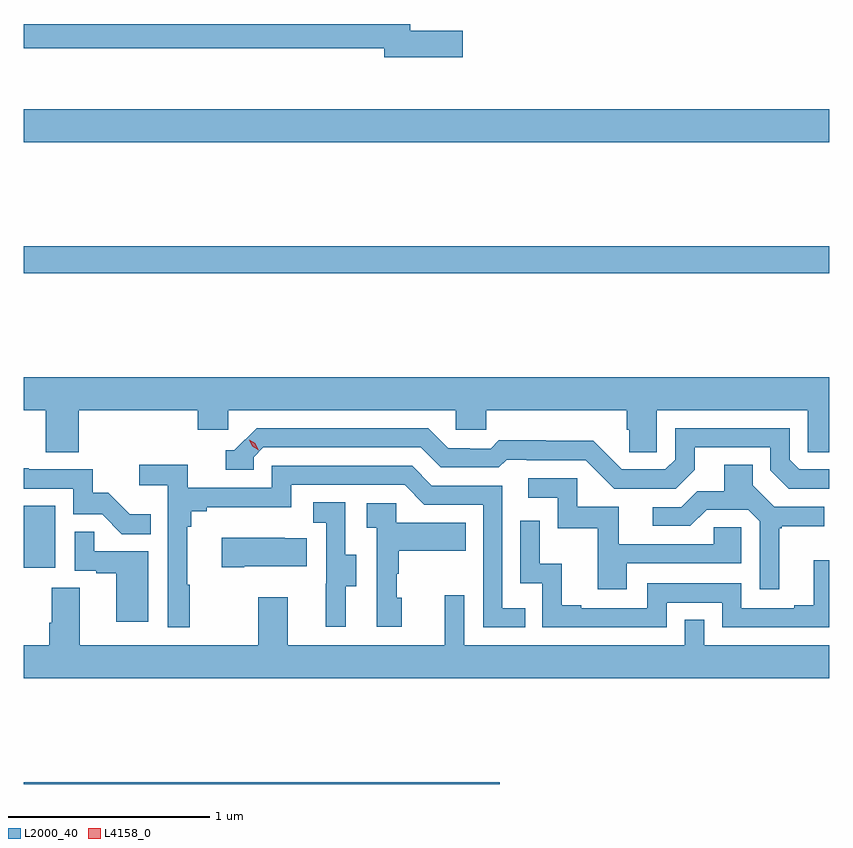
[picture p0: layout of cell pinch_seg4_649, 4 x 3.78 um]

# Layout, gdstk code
import gdstk
lib = gdstk.Library(unit=1e-6, precision=1e-09)
def R(c, l, rs):  # rectangles x0, y0, x1, y1
    for r in rs: c.add(gdstk.rectangle(r[:2], r[2:], *l))
def P(c, l, *ps):  # polygons
    for p in ps: c.add(gdstk.Polygon(p, *l))
L2000_40 = (2000, 40)
L4158_0 = (4158, 0)

pinch_seg4_649 = lib.new_cell('pinch_seg4_649')
R(pinch_seg4_649, L2000_40, [(1032.461,755.003,1034.824,755.012), (1032.461,756.078,1032.616,756.385), (1032.461,757.54,1036.461,757.676), (1032.461,758.192,1036.461,758.356)])
P(pinch_seg4_649, L2000_40, [(1034.641,758.745),(1034.38,758.745),(1034.38,758.779),(1032.461,758.779),(1032.461,758.658),(1034.252,758.658),(1034.252,758.615),(1034.641,758.615)],
  [(1032.734,756.86),(1033.325,756.86),(1033.325,756.762),(1033.476,756.762),(1033.476,756.86),(1034.607,756.86),(1034.607,756.762),(1034.757,756.762),(1034.757,756.86),(1035.455,756.86),(1035.455,756.762),(1035.469,756.762),(1035.469,756.652),(1035.606,756.652),(1035.606,756.86),(1036.356,756.86),(1036.356,756.652),(1036.461,756.652),(1036.461,757.024),(1032.461,757.024),(1032.461,756.86),(1032.569,756.86),(1032.569,756.652),(1032.734,756.652)],
  [(1035.793,756.565),(1035.793,756.675),(1036.17,756.675),(1036.17,756.561),(1036.26,756.471),(1036.461,756.471),(1036.461,756.567),(1036.314,756.567),(1036.266,756.615),(1036.266,756.771),(1035.696,756.771),(1035.696,756.615),(1035.648,756.567),(1035.432,756.567),(1035.29,756.709),(1035.054,756.709),(1035.054,756.712),(1034.821,756.712),(1034.779,756.669),(1034.676,756.669),(1034.676,756.672),(1034.569,756.672),(1034.47,756.771),(1033.617,756.771),(1033.506,756.66),(1033.463,756.66),(1033.463,756.564),(1033.602,756.564),(1033.602,756.627),(1033.65,756.675),(1034.433,756.675),(1034.532,756.576),(1034.821,756.576),(1034.86,756.615),(1034.959,756.615),(1034.959,756.612),(1035.252,756.612),(1035.393,756.471),(1035.699,756.471)],
  [(1033.285,755.993),(1033.273,755.993),(1033.273,756.281),(1033.292,756.281),(1033.292,756.358),(1033.369,756.358),(1033.369,756.377),(1033.788,756.377),(1033.788,756.489),(1034.352,756.489),(1034.451,756.39),(1034.742,756.39),(1034.742,755.781),(1034.951,755.781),(1034.951,755.877),(1034.838,755.877),(1034.838,756.486),(1034.488,756.486),(1034.389,756.585),(1033.692,756.585),(1033.692,756.474),(1033.274,756.474),(1033.274,756.59),(1033.035,756.59),(1033.035,756.488),(1033.176,756.488),(1033.176,755.781),(1033.285,755.781)],
  [(1036.213,756.273),(1036.225,756.273),(1036.225,756.284),(1036.438,756.284),(1036.438,756.381),(1036.188,756.381),(1036.081,756.488),(1036.081,756.59),(1035.941,756.59),(1035.941,756.458),(1035.806,756.458),(1035.726,756.378),(1035.585,756.378),(1035.585,756.285),(1035.772,756.285),(1035.853,756.366),(1036.059,756.366),(1036.116,756.309),(1036.116,755.97),(1036.213,755.97)],
  [(1033.091,756.343),(1032.987,756.343),(1032.88,756.45),(1032.804,756.45),(1032.804,756.567),(1032.485,756.567),(1032.485,756.572),(1032.461,756.572),(1032.461,756.471),(1032.705,756.471),(1032.705,756.342),(1032.849,756.342),(1032.947,756.244),(1033.091,756.244)],
  [(1035.457,756.099),(1036.026,756.099),(1036.026,756.279),(1035.889,756.279),(1035.889,756.195),(1035.415,756.195),(1035.415,756.381),(1035.21,756.381),(1035.21,756.522),(1034.967,756.522),(1034.967,756.426),(1035.114,756.426),(1035.114,756.273),(1035.313,756.273),(1035.313,755.97),(1035.457,755.97)],
  [(1034.059,755.986),(1034.113,755.986),(1034.113,756.141),(1034.058,756.141),(1034.058,756.404),(1033.899,756.404),(1033.899,756.301),(1033.962,756.301),(1033.962,755.997),(1033.961,755.997),(1033.961,755.784),(1034.059,755.784)],
  [(1034.338,755.928),(1034.313,755.928),(1034.313,756.047),(1034.323,756.047),(1034.323,756.161),(1034.657,756.161),(1034.657,756.301),(1034.31,756.301),(1034.31,756.399),(1034.163,756.399),(1034.163,756.275),(1034.214,756.275),(1034.214,755.784),(1034.338,755.784)],
  [(1035.654,755.904),(1035.93,755.904),(1035.93,755.781),(1036.461,755.781),(1036.461,756.115),(1036.385,756.115),(1036.385,755.89),(1036.289,755.89),(1036.289,755.877),(1036.026,755.877),(1036.026,756),(1035.558,756),(1035.558,755.877),(1035.229,755.877),(1035.229,755.89),(1035.134,755.89),(1035.134,756.098),(1035.024,756.098),(1035.024,756.31),(1034.928,756.31),(1034.928,756),(1035.036,756),(1035.036,755.781),(1035.654,755.781)],
  [(1033.078,756.159),(1032.809,756.159),(1032.809,756.257),(1032.714,756.257),(1032.714,756.063),(1032.821,756.063),(1032.821,756.051),(1032.92,756.051),(1032.92,755.808),(1033.078,755.808)],
  [(1033.555,756.086),(1033.865,756.086),(1033.865,756.223),(1033.757,756.223),(1033.757,756.226),(1033.443,756.226),(1033.443,756.079),(1033.555,756.079)],
  [(1036.461,755.692),(1035.84,755.692),(1035.84,755.819),(1035.744,755.819),(1035.744,755.692),(1034.649,755.692),(1034.649,755.941),(1034.552,755.941),(1034.552,755.692),(1033.771,755.692),(1033.771,755.932),(1033.624,755.932),(1033.624,755.692),(1032.739,755.692),(1032.739,755.978),(1032.599,755.978),(1032.599,755.804),(1032.587,755.804),(1032.587,755.692),(1032.461,755.692),(1032.461,755.528),(1036.461,755.528)])
P(pinch_seg4_649, L4158_0, [(1033.627,756.662),(1033.596,756.682),(1033.58,756.714),(1033.58,756.714),(1033.58,756.714),(1033.611,756.695),(1033.627,756.662),(1033.627,756.662)])

lib.write_gds('pinch_seg4_649.gds')
